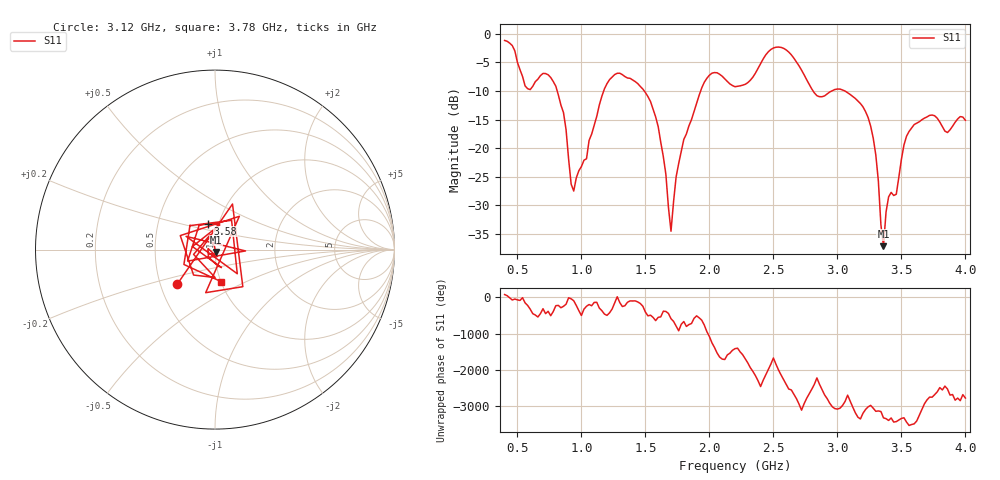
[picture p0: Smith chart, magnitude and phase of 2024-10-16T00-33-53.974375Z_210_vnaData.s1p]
! Created with skrf (http://scikit-rf.org).
# Hz S RI R 50.0
!freq ReS11 ImS11
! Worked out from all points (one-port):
!   181 points, 400 MHz to 4 GHz, reference 50 ohm
!   lowest |S11| = -37.2 dB at 3.36 GHz (marker M1), VSWR 1.03, Z = 50.4 - j1.33 ohm
!   |S11| at or under -10 dB: 810.9 MHz to 1.174 GHz (363.2 MHz wide, 36.6 % of centre); 1.491 GHz to 1.932 GHz (440.6 MHz wide, 25.7 % of centre); 3.059 GHz to end of sweep (the widest 3 of 4)
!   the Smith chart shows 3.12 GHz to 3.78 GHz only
!   S11 on the Smith chart (normalised r, x): 3.12 GHz: 0.61, -0.25; 3.58 GHz: 0.89, +0.26; 3.78 GHz: 1.01, -0.37
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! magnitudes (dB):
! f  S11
! 400 MHz  -1.2
! 560 MHz  -9.1
! 740 MHz  -7.2
! 860 MHz  -13.8
! 920 MHz  -26.3
! 940 MHz  -27.5
! 1.18 GHz  -9.6
! 1.3 GHz  -6.9
! 1.58 GHz  -14.5
! 1.66 GHz  -24.6
! 1.7 GHz  -34.5
! 1.76 GHz  -22.7
! 1.98 GHz  -7.8
! 2.2 GHz  -9.3
! 2.5 GHz  -2.5
! 2.66 GHz  -4.3
! 2.84 GHz  -10.8
! 3.1 GHz  -10.6
! 3.12 GHz  -11.0
! 3.28 GHz  -18.3
! 3.36 GHz  -37.2
! 3.4 GHz  -28.5
! 3.46 GHz  -28.1
! 3.56 GHz  -17.1
! 3.58 GHz  -16.5
! 3.78 GHz  -14.8
! 3.86 GHz  -17.3
! 4 GHz  -15.1
